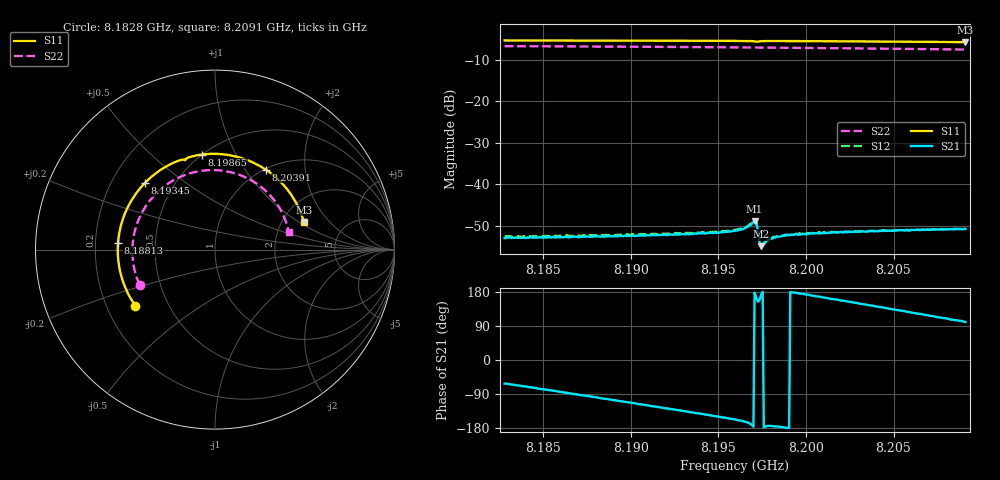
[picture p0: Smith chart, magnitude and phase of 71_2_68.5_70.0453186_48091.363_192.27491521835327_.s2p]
#  HZ  S  RI  R  50.00
! Rohde & Schwarz Vector Network Analyzer
! Rohde-Schwarz,ZNB20-2Port,1311601062101988,3.16
! Created: UTC 3/20/2024, 5:06:54 PM
! freq[Hz]  re:S11  im:S11  re:S21  im:S21  re:S12  im:S12  re:S22  im:S22
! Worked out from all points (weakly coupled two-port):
!   401 points, 8.1828 GHz to 8.2091 GHz, reference 50 ohm
!   highest |S21| = -48.79 dB at 8.19707 GHz (marker M1); lowest = -54.9 dB at 8.19746 GHz (marker M2)
!   lowest |S11| = -5.7 dB at 8.2091 GHz (marker M3), VSWR 3.15, Z = 131 + j55.1 ohm
!   |S11| at or under -10 dB: nowhere
!   |S22| runs from -7.5 to -6.7 dB; largest |S21 - S12| = 0.00018
!   S11 on the Smith chart (normalised r, x): 8.1828 GHz: 0.32, -0.29; 8.18813 GHz: 0.30, +0.03; 8.19345 GHz: 0.34, +0.36; 8.19865 GHz: 0.50, +0.74; 8.20391 GHz: 1.01, +1.25; 8.2091 GHz: 2.63, +1.10
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8.182805e9  -0.4431 -0.3144  0.00104 -0.002  0.00109 -0.00208  -0.4205 -0.1965
8.185106e9  -0.5146 -0.1718  0.000472 -0.00226  0.000471 -0.00235  -0.4559 -0.0735
8.187209e9  -0.5411 -0.0278  -0.000119 -0.00233  -0.000131 -0.00238  -0.4575 0.0432
8.18813e9  -0.5404 0.0365  -0.000372 -0.00235  -0.000453 -0.00241  -0.449 0.0936
8.189839e9  -0.5186 0.1539  -0.000875 -0.00224  -0.000994 -0.00229  -0.4182 0.1833
8.191614e9  -0.4689 0.2678  -0.00139 -0.00204  -0.00149 -0.00204  -0.3674 0.2677
8.193455e9  -0.3913 0.3706  -0.0019 -0.00171  -0.00197 -0.00166  -0.2963 0.3415
8.195953e9  -0.2498 0.4752  -0.00254 -0.0011  -0.00267 -0.000993  -0.1761 0.4125
8.196479e9  -0.2153 0.4908  -0.0028 -0.000893  -0.00291 -0.000844  -0.1483 0.4225
8.197071e9  -0.1717 0.5007  -0.00363 0.000153  -0.00371 0.000258  -0.1161 0.4311
8.197136e9  -0.1679 0.4991  -0.00354 0.000656  -0.00359 0.000825  -0.1124 0.432
8.197399e9  -0.161 0.506  -0.00178 0.000467  -0.00183 0.000545  -0.0982 0.4349
8.197465e9  -0.1566 0.509  -0.00179 0.000193  -0.00181 0.000282  -0.0946 0.4358
8.197531e9  -0.1519 0.5114  -0.00185 5.83e-06  -0.00189 0.000102  -0.091 0.4364
8.198057e9  -0.114 0.5225  -0.00221 -0.000231  -0.00226 -0.000119  -0.0614 0.4407
8.198648e9  -0.072 0.5296  -0.0024 -0.000129  -0.00241 -2.12e-06  -0.0279 0.4429
8.200358e9  0.0489 0.5304  -0.00253 0.000433  -0.00253 0.000537  0.0689 0.4353
8.202133e9  0.1709 0.5021  -0.00242 0.00106  -0.00239 0.00119  0.1654 0.4047
8.203908e9  0.2829 0.4457  -0.00215 0.00167  -0.00209 0.00176  0.253 0.3519
8.204762e9  0.3313 0.4093  -0.00196 0.00195  -0.0019 0.00203  0.2905 0.3192
8.207063e9  0.4374 0.2858  -0.00127 0.00254  -0.00123 0.00256  0.3709 0.211
8.209101e9  0.4954 0.1532  -0.000516 0.00286  -0.00048 0.0029  0.4111 0.0966
